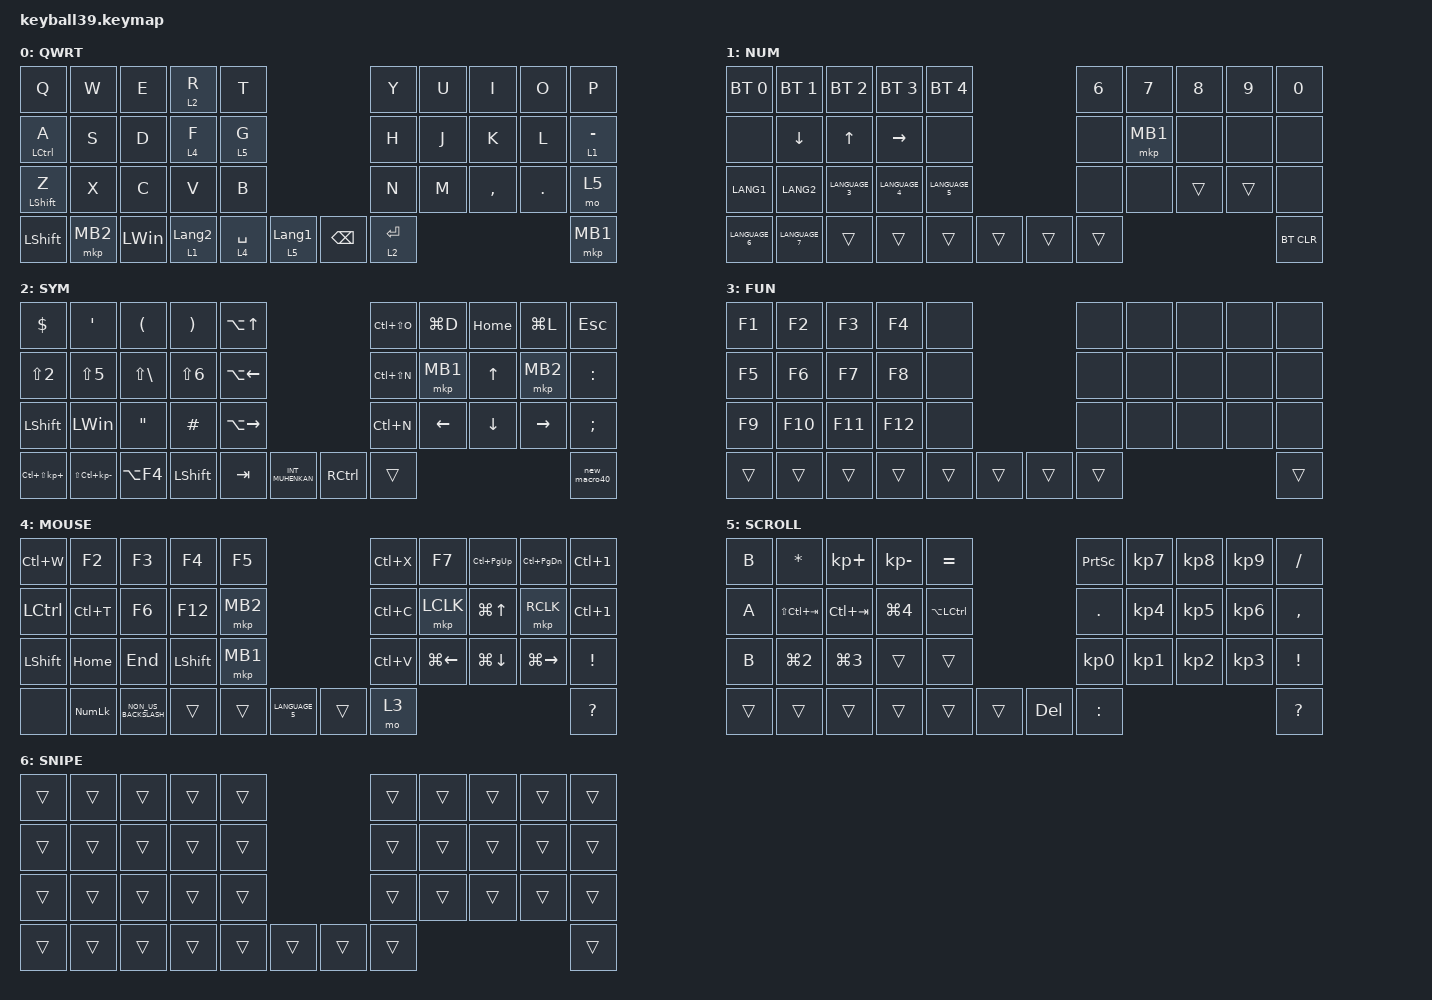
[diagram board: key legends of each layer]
#define DEFAULT 0
#define NUM     1
#define SYM     2
#define FUN     3
#define MOUSE   4
#define SCROLL  5
#define SNIPE   6

#include <behaviors/mouse_keys.dtsi>
#include <dt-bindings/zmk/mouse.h>
#include <behaviors.dtsi>
#include <dt-bindings/zmk/bt.h>
#include <dt-bindings/zmk/keys.h>
#include <dt-bindings/zmk/pointing.h>

&lt {
    tapping-term-ms = <240>;
    flavor = "balanced";
    quick-tap-ms = <150>;
};

&mt {
    tapping-term-ms = <200>;
    flavor = "tap-preferred";
    quick-tap-ms = <150>;
};

&caps_word { continue-list = <UNDERSCORE MINUS>; };

/ {
    // custom shift using mod-morph 

    behaviors {
        cmqus: comma_question {
            compatible = "zmk,behavior-mod-morph";
            label = "COMMA_QUESTION";
            #binding-cells = <0>;
            bindings = <&kp COMMA>, <&kp QUESTION>;

            mods = <(MOD_LSFT|MOD_RSFT)>;
        };

        dtsmi: dot_semi {
            compatible = "zmk,behavior-mod-morph";
            label = "DOT_SEMI";
            #binding-cells = <0>;
            bindings = <&kp DOT>, <&kp SEMI>;

            mods = <(MOD_LSFT|MOD_RSFT)>;
        };
    };

    macros {
        new_macro10: new_macro {
            compatible = "zmk,behavior-macro";
            #binding-cells = <0>;
            bindings = <&kp LS(Q) &kp LS(Z) &kp U &kp G &kp X &kp NUMBER_2 &kp J &kp I &kp R &kp LS(R)>;
            label = "NEW_MACRO";
        };

        new_macro20: new_macro1 {
            compatible = "zmk,behavior-macro";
            #binding-cells = <0>;
            bindings = <&kp N1 &kp Q &kp A &kp Z &kp X &kp S &kp W &kp N2>;
            label = "NEW_MACRO1";
        };

        new_macro30: new_macro2 {
            compatible = "zmk,behavior-macro";
            #binding-cells = <0>;
            bindings = <&kp N1 &kp N1 &kp N4 &kp N1 &kp N0 &kp N9 &kp N2>;
            label = "NEW_MACRO2";
        };

        new_macro40: new_macro40 {
            compatible = "zmk,behavior-macro";
            #binding-cells = <0>;
            bindings = <&kp F &kp A &kp B>;
            label = "NEW_MACRO40";
        };
    };

    keymap {
        compatible = "zmk,keymap";

        default_layer {
            label = "QWRT";
            bindings = <
&kp Q             &kp W     &kp E         &lt 2 R           &kp T                                         &kp Y        &kp U  &kp I      &kp O    &kp P
&mt LCTRL A       &kp S     &kp D         &lt 4 F           &lt 5 G                                       &kp H        &kp J  &kp K      &kp L    &lt 1 MINUS
&mt LEFT_SHIFT Z  &kp X     &kp C         &kp V             &kp B                                         &kp N        &kp M  &kp COMMA  &kp DOT  &mo 5
&kp LEFT_SHIFT    &mkp MB2  &kp LEFT_WIN  &lt 1 LANGUAGE_2  &lt 4 SPACE  &lt 5 LANGUAGE_1  &kp BACKSPACE  &lt 2 ENTER                             &mkp MB1
            >;
        };

        number_layer {
            label = "NUM";
            bindings = <
&bt BT_SEL 0    &bt BT_SEL 1    &bt BT_SEL 2    &bt BT_SEL 3    &bt BT_SEL 4                    &kp NUMBER_6  &kp NUMBER_7  &kp NUMBER_8  &kp NUMBER_9  &kp NUMBER_0
&none           &kp DOWN        &kp UP_ARROW    &kp RIGHT       &none                           &none         &mkp MB1      &none         &none         &none
&kp LANG1       &kp LANG2       &kp LANGUAGE_3  &kp LANGUAGE_4  &kp LANGUAGE_5                  &none         &none         &trans        &trans        &none
&kp LANGUAGE_6  &kp LANGUAGE_7  &trans          &trans          &trans          &trans  &trans  &trans                                                  &bt BT_CLR
            >;
        };

        symbol_layer {
            label = "SYM";
            bindings = <
&kp DOLLAR           &kp SQT               &kp LEFT_PARENTHESIS  &kp RIGHT_PARENTHESIS  &kp LA(UP_ARROW)                                  &kp LC(LS(O))  &kp LG(D)       &kp HOME        &kp LG(L)        &kp ESCAPE
&kp LS(NUMBER_2)     &kp LS(N5)            &kp LS(BSLH)          &kp LS(NUMBER_6)       &kp LA(LEFT_ARROW)                                &kp LC(LS(N))  &mkp MB1        &kp UP_ARROW    &mkp MB2         &kp COLON
&kp LEFT_SHIFT       &kp LEFT_WIN          &kp DOUBLE_QUOTES     &kp HASH               &kp LA(RIGHT_ARROW)                               &kp LC(N)      &kp LEFT_ARROW  &kp DOWN_ARROW  &kp RIGHT_ARROW  &kp SEMICOLON
&kp LC(LS(KP_PLUS))  &kp LS(LC(KP_MINUS))  &kp LA(F4)            &kp LEFT_SHIFT         &kp TAB              &kp INT_MUHENKAN  &kp RCTRL  &trans                                                          &new_macro40
            >;
        };

        function_layer {
            label = "FUN";
            bindings = <
&kp F1  &kp F2   &kp F3   &kp F4   &none                   &none   &none  &none  &none  &none
&kp F5  &kp F6   &kp F7   &kp F8   &none                   &none   &none  &none  &none  &none
&kp F9  &kp F10  &kp F11  &kp F12  &none                   &none   &none  &none  &none  &none
&trans  &trans   &trans   &trans   &trans  &trans  &trans  &trans                       &trans
            >;
        };

        mouse_layer {
            label = "MOUSE";
            bindings = <
&kp LC(W)       &kp F2          &kp F3                &kp F4          &kp F5                            &kp LC(X)  &kp F7              &kp LC(PAGE_UP)     &kp LC(PAGE_DOWN)    &kp LC(N1)
&kp LCTRL       &kp LC(T)       &kp F6                &kp F12         &mkp MB2                          &kp LC(C)  &mkp LCLK           &kp LG(UP_ARROW)    &mkp RCLK            &kp LC(N1)
&kp LEFT_SHIFT  &kp HOME        &kp END               &kp LEFT_SHIFT  &mkp MB1                          &kp LC(V)  &kp LG(LEFT_ARROW)  &kp LG(DOWN_ARROW)  &kp LG(RIGHT_ARROW)  &kp EXCLAMATION
&none           &kp KP_NUMLOCK  &kp NON_US_BACKSLASH  &trans          &trans    &kp LANGUAGE_5  &trans  &mo 3                                                                   &kp QUESTION
            >;
        };

        scroll_layer {
            label = "SCROLL";
            bindings = <
&kp B   &kp ASTERISK      &kp KP_PLUS       &kp KP_MINUS      &kp EQUAL                       &kp PRINTSCREEN  &kp KP_NUMBER_7  &kp KP_NUMBER_8  &kp KP_NUMBER_9  &kp SLASH
&kp A   &kp LS(LC(TAB))   &kp LC(TAB)       &kp LG(NUMBER_4)  &kp LA(LCTRL)                   &kp PERIOD       &kp KP_NUMBER_4  &kp KP_NUMBER_5  &kp KP_NUMBER_6  &kp COMMA
&kp B   &kp LG(NUMBER_2)  &kp LG(NUMBER_3)  &trans            &trans                          &kp KP_NUMBER_0  &kp KP_NUMBER_1  &kp KP_NUMBER_2  &kp KP_NUMBER_3  &kp EXCLAMATION
&trans  &trans            &trans            &trans            &trans         &trans  &kp DEL  &kp COLON                                                           &kp QUESTION
            >;
        };

        snipe_layer {
            label = "SNIPE";
            bindings = <
&trans  &trans  &trans  &trans  &trans                  &trans  &trans  &trans  &trans  &trans
&trans  &trans  &trans  &trans  &trans                  &trans  &trans  &trans  &trans  &trans
&trans  &trans  &trans  &trans  &trans                  &trans  &trans  &trans  &trans  &trans
&trans  &trans  &trans  &trans  &trans  &trans  &trans  &trans                          &trans
            >;
        };
    };
};
